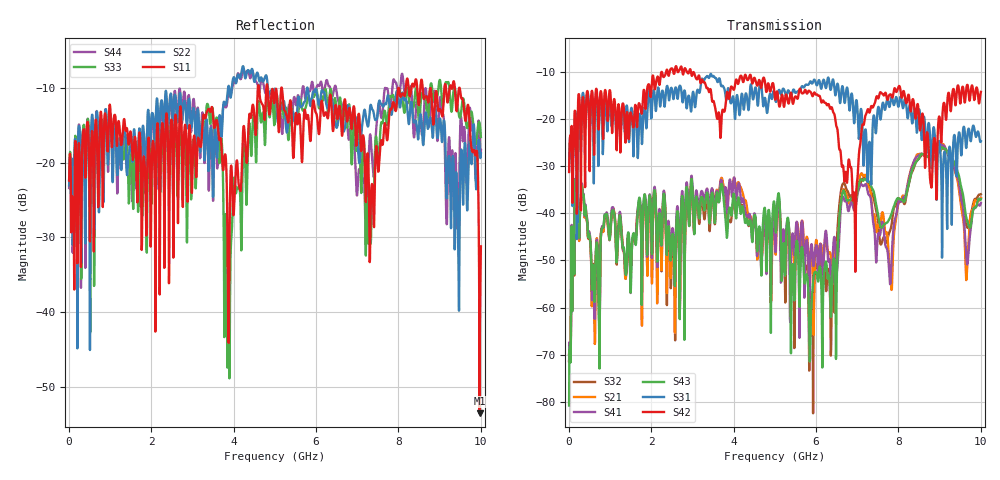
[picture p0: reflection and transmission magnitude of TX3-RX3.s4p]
# Hz S  RI  R 50
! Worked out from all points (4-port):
!   1601 points, 10 MHz to 10 GHz, reference 50 ohm
!   strongest paths, dB at 10 MHz, 2.507 GHz, 5.005 GHz, 7.503 GHz, 10 GHz:
!     S42: -31.3, -9.3, -15.7, -15.6, -14.3
!     S31: -31.1, -13.8, -15.6, -17.7, -24.8
!     S43: -80.8, -45.1, -40.3, -40.1, -37.0
!     S41: -71.4, -43.7, -45.6, -44.6, -37.8
!     S21: -69.8, -45.3, -45.3, -42.5, -36.7
!     S32: -71.3, -47.0, -40.3, -41.6, -36.0
!   lowest |S11| = -53.5 dB at 9.969 GHz (marker M1), VSWR 1.00, Z = 50.1 - j0.199 ohm
!   |S11| at or under -10 dB: start of sweep to 4.59 GHz; 5.169 GHz to 8.179 GHz (3.01 GHz wide, 45.1 % of centre); 8.588 GHz to 9.117 GHz (529.1 MHz wide, 5.98 % of centre)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
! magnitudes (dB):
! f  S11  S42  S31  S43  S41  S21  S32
! 10 MHz  -22.4  -31.3  -31.1  -80.8  -71.4  -69.8  -71.3
! 322.2 MHz  -19.0  -18.2  -16.3  -34.2  -33.7  -34.0  -34.4
! 3.887 GHz  -42.3  -15.8  -14.1  -39.3  -34.2  -34.7  -41.5
! 5.885 GHz  -15.6  -14.5  -12.3  -60.1  -46.7  -47.2  -57.3
! 6.934 GHz  -13.1  -37.4  -20.5  -38.1  -39.5  -37.8  -37.7
! 9.969 GHz  -53.5  -16.2  -24.3  -37.0  -38.4  -37.2  -36.0
! 10 GHz  -31.2  -14.3  -24.8  -37.0  -37.8  -36.7  -36.0
